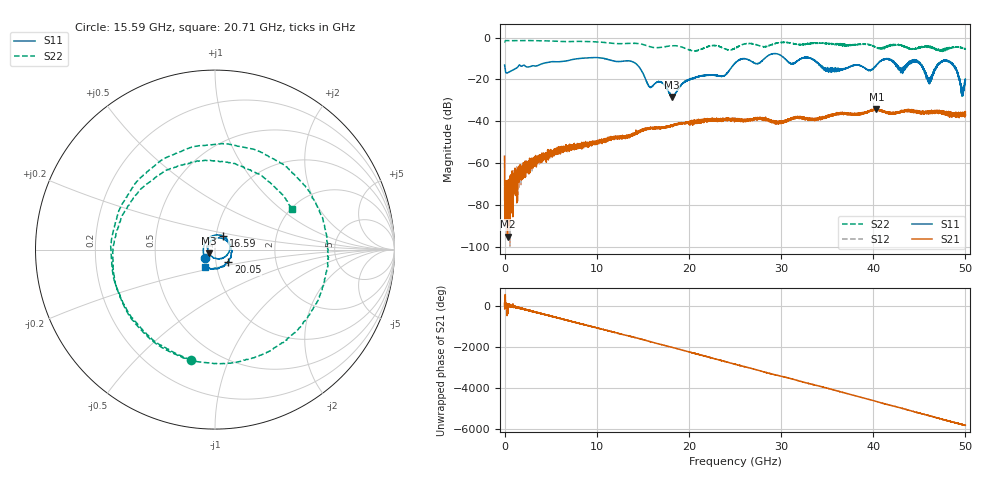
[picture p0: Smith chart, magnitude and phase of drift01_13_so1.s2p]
!Created with skrf (http://scikit-rf.org).
# Hz S RI R 50.0
!freq ReS11 ImS11 ReS21 ImS21 ReS12 ImS12 ReS22 ImS22
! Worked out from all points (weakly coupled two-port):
!   10001 points, 300 kHz to 50 GHz, reference 50 ohm
!   highest |S21| = -34.08 dB at 40.34 GHz (marker M1); lowest = -95.0 dB at 315.3 MHz (marker M2)
!   lowest |S11| = -28.3 dB at 18.16 GHz (marker M3), VSWR 1.08, Z = 46.9 - j1.99 ohm
!   |S11| at or under -10 dB: 10.87 GHz to 25.98 GHz (15.11 GHz wide, 82 % of centre); 33.28 GHz to 41.59 GHz (8.318 GHz wide, 22.2 % of centre); 41.6 GHz to end of sweep (the widest 3 of 13)
!   |S22| runs from -6.6 to -1.4 dB; largest |S21 - S12| = 0.0039
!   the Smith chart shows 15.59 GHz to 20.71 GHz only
!   S11 on the Smith chart (normalised r, x): 15.59 GHz: 0.89, -0.09; 16.59 GHz: 1.08, +0.16; 20.05 GHz: 1.15, -0.16; 20.71 GHz: 0.88, -0.17
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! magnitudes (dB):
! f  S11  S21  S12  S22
! 300 kHz  -13.1  -56.7  -56.1  -2.1
! 315.3 MHz  -16.8  -95.0  -79.3  -1.4
! 3.01 GHz  -13.5  -60.5  -62.1  -1.4
! 8.335 GHz  -9.9  -50.9  -51.9  -1.8
! 13.88 GHz  -11.5  -46.5  -46.4  -2.7
! 15.59 GHz  -22.7  -43.4  -43.3  -4.0
! 16.59 GHz  -21.2  -43.4  -43.2  -4.8
! 16.67 GHz  -21.0  -43.2  -43.2  -4.8
! 18.16 GHz  -28.3  -41.9  -42.0  -3.9
! 20.05 GHz  -19.8  -40.9  -41.4  -5.9
! 20.71 GHz  -18.9  -40.4  -40.4  -6.3
! 25 GHz  -12.2  -39.2  -39.7  -5.1
! 33.34 GHz  -10.1  -39.3  -38.6  -2.6
! 35.09 GHz  -15.1  -37.7  -37.6  -2.8
! 40.34 GHz  -13.3  -34.1  -34.4  -4.8
! 41.67 GHz  -10.4  -35.6  -35.7  -4.1
! 43.07 GHz  -15.3  -35.3  -35.5  -3.6
! 44.81 GHz  -11.7  -35.5  -35.5  -4.9
! 46.09 GHz  -21.5  -35.9  -35.9  -4.3
! 48.04 GHz  -11.1  -37.1  -36.3  -5.3
! 49.64 GHz  -24.2  -36.2  -35.8  -4.8
! 50 GHz  -20.2  -35.5  -36.3  -5.3
